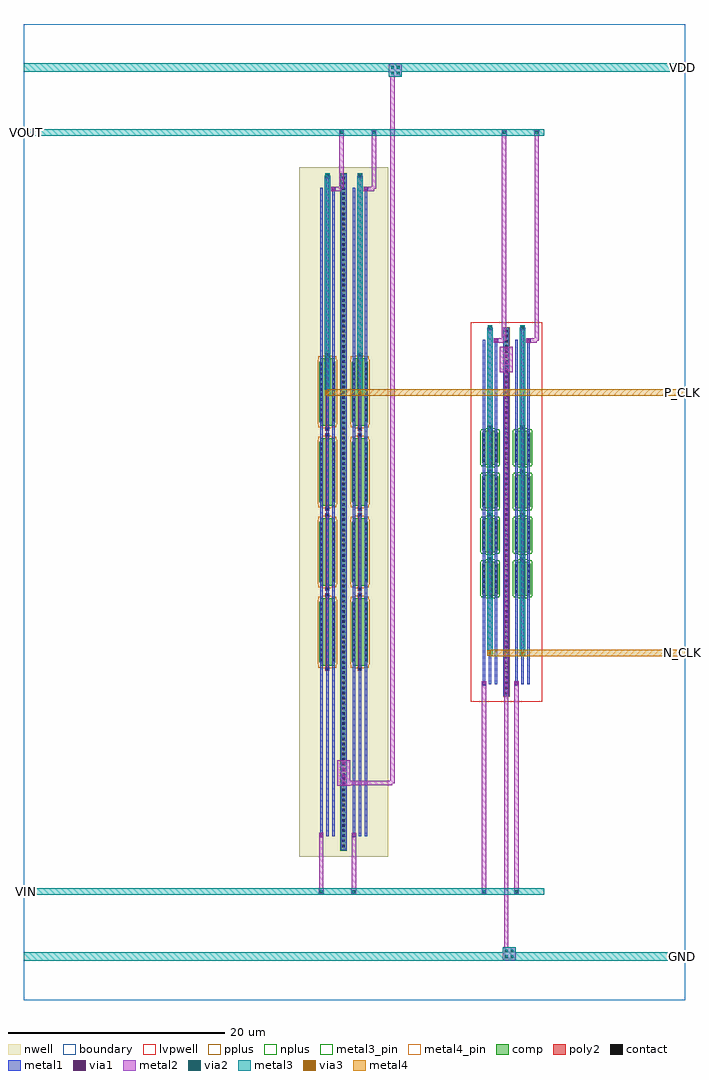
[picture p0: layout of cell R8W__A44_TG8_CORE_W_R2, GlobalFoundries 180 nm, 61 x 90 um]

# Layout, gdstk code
import gdstk
lib = gdstk.Library(unit=1e-6, precision=1e-09)
def R(c, l, rs):  # rectangles x0, y0, x1, y1
    for r in rs: c.add(gdstk.rectangle(r[:2], r[2:], *l))
def A(c, l, x, y, w, h, nx, ny, dx, dy):  # array of equal rectangles
    R(c, l, [(x+i*dx, y+j*dy, x+i*dx+w, y+j*dy+h) for i in range(nx) for j in range(ny)])
boundary = (0, 0)
nwell = (21, 0)
comp = (22, 0)
poly2 = (30, 0)
pplus = (31, 0)
nplus = (32, 0)
contact = (33, 0)
metal1 = (34, 0)
via1 = (35, 0)
metal2 = (36, 0)
via2 = (38, 0)
via3 = (40, 0)
metal3 = (42, 0)
metal3_pin = (42, 10)
metal4 = (46, 0)
metal4_pin = (46, 10)
lvpwell = (204, 0)

r8w__nfet_03v3_sd8hjt = lib.new_cell('R8W__nfet_03v3_SD8HJT')
A(r8w__nfet_03v3_sd8hjt, comp, -0.74, -7.57, 1.48, 2.81, 1, 4, 0, 4.03)
R(r8w__nfet_03v3_sd8hjt, comp, [(-0.675,-7.72,0.675,-7.57), (-0.675,-4.76,0.675,-4.61), (-0.675,-3.69,0.675,-3.54), (-0.675,-0.73,0.675,-0.58), (-0.675,0.34,0.675,0.49), (-0.675,3.3,0.675,3.45), (-0.675,4.37,0.675,4.52), (-0.675,7.33,0.675,7.48)])
A(r8w__nfet_03v3_sd8hjt, poly2, -0.14, -7.94, 0.28, 3.43, 1, 4, 0, 4.03)
A(r8w__nfet_03v3_sd8hjt, poly2, -0.18, -4.51, 0.36, 0.36, 1, 4, 0, 4.03)
A(r8w__nfet_03v3_sd8hjt, nplus, -0.9, -7.73, 1.8, 3.13, 1, 4, 0, 4.03)
R(r8w__nfet_03v3_sd8hjt, nplus, [(-0.37,-7.95,0.37,-7.88), (-0.835,-7.88,0.835,-7.73), (-0.835,-4.6,0.835,-4.45), (-0.37,-4.45,0.37,-4.38), (-0.37,-3.92,0.37,-3.85), (-0.835,-3.85,0.835,-3.7), (-0.835,-0.57,0.835,-0.42), (-0.37,-0.42,0.37,-0.35), (-0.37,0.11,0.37,0.18), (-0.835,0.18,0.835,0.33), (-0.835,3.46,0.835,3.61), (-0.37,3.61,0.37,3.68), (-0.37,4.14,0.37,4.21), (-0.835,4.21,0.835,4.36), (-0.835,7.49,0.835,7.64), (-0.37,7.64,0.37,7.71)])
A(r8w__nfet_03v3_sd8hjt, contact, -0.67, -7.45, 0.22, 0.22, 1, 6, 0, 0.47)
A(r8w__nfet_03v3_sd8hjt, contact, 0.45, -7.45, 0.22, 0.22, 1, 6, 0, 0.47)
A(r8w__nfet_03v3_sd8hjt, contact, -0.11, -4.44, 0.22, 0.22, 1, 4, 0, 4.03)
A(r8w__nfet_03v3_sd8hjt, contact, -0.67, -3.42, 0.22, 0.22, 1, 6, 0, 0.47)
A(r8w__nfet_03v3_sd8hjt, contact, 0.45, -3.42, 0.22, 0.22, 1, 6, 0, 0.47)
A(r8w__nfet_03v3_sd8hjt, contact, -0.67, 0.61, 0.22, 0.22, 1, 6, 0, 0.47)
A(r8w__nfet_03v3_sd8hjt, contact, 0.45, 0.61, 0.22, 0.22, 1, 6, 0, 0.47)
A(r8w__nfet_03v3_sd8hjt, contact, -0.67, 4.64, 0.22, 0.22, 1, 6, 0, 0.47)
A(r8w__nfet_03v3_sd8hjt, contact, 0.45, 4.64, 0.22, 0.22, 1, 6, 0, 0.47)
A(r8w__nfet_03v3_sd8hjt, metal1, -0.675, -7.56, 0.23, 2.79, 1, 4, 0, 4.03)
A(r8w__nfet_03v3_sd8hjt, metal1, 0.445, -7.56, 0.23, 2.79, 1, 4, 0, 4.03)
A(r8w__nfet_03v3_sd8hjt, metal1, -0.17, -4.445, 0.34, 0.23, 1, 4, 0, 4.03)
R(r8w__nfet_03v3_sd8hjt, lvpwell, [(-0.86,-8.06,0.86,8.06)])

r8w__pfet_03v3_c2l3t7 = lib.new_cell('R8W__pfet_03v3_C2L3T7')
R(r8w__pfet_03v3_c2l3t7, nwell, [(-1.17,-15.07,1.17,15.07)])
A(r8w__pfet_03v3_c2l3t7, comp, -0.74, -13.875, 1.48, 5.61, 1, 4, 0, 7.38)
R(r8w__pfet_03v3_c2l3t7, comp, [(-0.675,-14.18,0.675,-13.875), (-0.675,-8.265,0.675,-7.96), (-0.675,-6.8,0.675,-6.495), (-0.675,-0.885,0.675,-0.58), (-0.675,0.58,0.675,0.885), (-0.675,6.495,0.675,6.8), (-0.675,7.96,0.675,8.265), (-0.675,13.875,0.675,14.18)])
A(r8w__pfet_03v3_c2l3t7, poly2, -0.14, -14.28, 0.28, 6.42, 1, 4, 0, 7.38)
R(r8w__pfet_03v3_c2l3t7, poly2, [(-0.18,-14.64,0.18,-14.28), (-0.18,-7.86,0.18,-7.5), (-0.18,-7.26,0.18,-6.9), (-0.18,-0.48,0.18,-0.12), (-0.18,0.12,0.18,0.48), (-0.18,6.9,0.18,7.26), (-0.18,7.5,0.18,7.86), (-0.18,14.28,0.18,14.64)])
A(r8w__pfet_03v3_c2l3t7, pplus, -0.9, -14.035, 1.8, 5.93, 1, 4, 0, 7.38)
R(r8w__pfet_03v3_c2l3t7, pplus, [(-0.37,-14.41,0.37,-14.34), (-0.835,-14.34,0.835,-14.035), (-0.835,-8.105,0.835,-7.8), (-0.37,-7.8,0.37,-7.73), (-0.37,-7.03,0.37,-6.96), (-0.835,-6.96,0.835,-6.655), (-0.835,-0.725,0.835,-0.42), (-0.37,-0.42,0.37,-0.35), (-0.37,0.35,0.37,0.42), (-0.835,0.42,0.835,0.725), (-0.835,6.655,0.835,6.96), (-0.37,6.96,0.37,7.03), (-0.37,7.73,0.37,7.8), (-0.835,7.8,0.835,8.105), (-0.835,14.035,0.835,14.34), (-0.37,14.34,0.37,14.41)])
A(r8w__pfet_03v3_c2l3t7, contact, -0.67, -13.765, 0.22, 0.22, 1, 12, 0, 0.47)
A(r8w__pfet_03v3_c2l3t7, contact, 0.45, -13.765, 0.22, 0.22, 1, 12, 0, 0.47)
A(r8w__pfet_03v3_c2l3t7, contact, -0.67, -6.385, 0.22, 0.22, 1, 12, 0, 0.47)
A(r8w__pfet_03v3_c2l3t7, contact, 0.45, -6.385, 0.22, 0.22, 1, 12, 0, 0.47)
A(r8w__pfet_03v3_c2l3t7, contact, -0.67, 0.995, 0.22, 0.22, 1, 12, 0, 0.47)
A(r8w__pfet_03v3_c2l3t7, contact, 0.45, 0.995, 0.22, 0.22, 1, 12, 0, 0.47)
A(r8w__pfet_03v3_c2l3t7, contact, -0.67, 8.375, 0.22, 0.22, 1, 12, 0, 0.47)
A(r8w__pfet_03v3_c2l3t7, contact, 0.45, 8.375, 0.22, 0.22, 1, 12, 0, 0.47)
R(r8w__pfet_03v3_c2l3t7, contact, [(-0.11,-14.57,0.11,-14.35), (-0.11,-7.79,0.11,-7.57), (-0.11,-7.19,0.11,-6.97), (-0.11,-0.41,0.11,-0.19), (-0.11,0.19,0.11,0.41), (-0.11,6.97,0.11,7.19), (-0.11,7.57,0.11,7.79), (-0.11,14.35,0.11,14.57)])
A(r8w__pfet_03v3_c2l3t7, metal1, -0.675, -13.865, 0.23, 5.59, 1, 4, 0, 7.38)
A(r8w__pfet_03v3_c2l3t7, metal1, 0.445, -13.865, 0.23, 5.59, 1, 4, 0, 7.38)
R(r8w__pfet_03v3_c2l3t7, metal1, [(-0.17,-14.575,0.17,-14.345), (-0.17,-7.795,0.17,-7.565), (-0.17,-7.195,0.17,-6.965), (-0.17,-0.415,0.17,-0.185), (-0.17,0.185,0.17,0.415), (-0.17,6.965,0.17,7.195), (-0.17,7.565,0.17,7.795), (-0.17,14.345,0.17,14.575)])

r8w__a44_tg8_core_w_r2 = lib.new_cell('R8W__A44_TG8_CORE_W_R2')
R(r8w__a44_tg8_core_w_r2, boundary, [(0,0,61,90)])
R(r8w__a44_tg8_core_w_r2, nwell, [(25.4,13.2,33.6,76.8)])
R(r8w__a44_tg8_core_w_r2, comp, [(29.22,13.8,29.78,76.2), (44.22,28,44.78,62)])
R(r8w__a44_tg8_core_w_r2, pplus, [(44.195,27.975,44.805,62.025)])
R(r8w__a44_tg8_core_w_r2, nplus, [(29.195,13.775,29.805,76.225)])
A(r8w__a44_tg8_core_w_r2, contact, 29.39, 14.105, 0.22, 0.22, 1, 132, 0, 0.47)
A(r8w__a44_tg8_core_w_r2, contact, 44.39, 28.205, 0.22, 0.22, 1, 72, 0, 0.47)
R(r8w__a44_tg8_core_w_r2, metal1, [(29.22,13.8,29.78,76.2), (27.24,15,27.64,15.4), (30.24,15,30.64,15.4), (27.885,15.1,28.115,75.8), (28.445,15.1,28.675,74.6), (30.885,15.1,31.115,75.8), (31.445,15.1,31.675,74.6), (27.325,15.4,27.555,74.9), (30.325,15.4,30.555,74.9), (44.22,28,44.78,62), (42.24,29,42.64,29.4), (45.24,29,45.64,29.4), (42.885,29.1,43.115,61.8), (43.445,29.1,43.675,60.6), (45.885,29.1,46.115,61.8), (46.445,29.1,46.675,60.6), (42.325,29.4,42.555,60.9), (45.325,29.4,45.555,60.9), (43.36,60.6,43.76,61), (46.36,60.6,46.76,61), (42.8,61.8,43.2,62.2), (45.8,61.8,46.2,62.2), (28.36,74.6,28.76,75), (31.36,74.6,31.76,75), (27.8,75.8,28.2,76.2), (30.8,75.8,31.2,76.2)])
A(r8w__a44_tg8_core_w_r2, via1, 29.37, 19.87, 0.26, 0.26, 1, 4, 0, 0.62)
A(r8w__a44_tg8_core_w_r2, via1, 44.37, 58.01, 0.26, 0.26, 1, 4, 0, 0.62)
R(r8w__a44_tg8_core_w_r2, via1, [(27.31,15.07,27.57,15.33), (30.31,15.07,30.57,15.33), (42.31,29.07,42.57,29.33), (45.31,29.07,45.57,29.33), (43.43,60.67,43.69,60.93), (46.43,60.67,46.69,60.93), (42.87,61.87,43.13,62.13), (45.87,61.87,46.13,62.13), (28.43,74.67,28.69,74.93), (31.43,74.67,31.69,74.93), (27.87,75.87,28.13,76.13), (30.87,75.87,31.13,76.13)])
R(r8w__a44_tg8_core_w_r2, metal2, [(44.16,3.66,45.36,3.78), (44.16,3.78,44.28,4.22), (44.28,3.78,44.72,4.22), (44.72,3.78,45.36,4.22), (44.16,4.22,44.3,4.86), (44.3,4.22,44.7,60.2), (44.7,4.22,45.36,4.86), (27.22,9.78,27.66,10.22), (30.22,9.78,30.66,10.22), (42.22,9.78,42.66,10.22), (45.22,9.78,45.66,10.22), (27.24,10.22,27.64,15.4), (30.24,10.22,30.64,15.4), (42.24,10.22,42.64,29.4), (45.24,10.22,45.64,29.4), (28.9,19.75,30.1,19.8), (28.9,19.8,29.3,20.2), (29.3,19.8,34,20), (29.3,20,34.2,20.2), (28.9,20.2,30.1,22.11), (33.8,20.2,34.2,85.78), (43.9,57.89,44.3,60.2), (44.7,57.89,45.1,60.2), (43.9,60.2,45.1,60.25), (43.36,60.6,44.3,60.8), (46.36,60.6,47.3,60.8), (43.36,60.8,44.5,61), (46.36,60.8,47.5,61), (44.1,61,44.5,79.78), (47.1,61,47.5,79.78), (42.78,61.78,43.22,62.22), (45.78,61.78,46.22,62.22), (28.36,74.6,29.3,74.8), (31.36,74.6,32.3,74.8), (28.36,74.8,29.5,75), (31.36,74.8,32.5,75), (29.1,75,29.5,79.78), (32.1,75,32.5,79.78), (27.78,75.78,28.22,76.22), (30.78,75.78,31.22,76.22), (29.08,79.78,29.52,80.22), (32.08,79.78,32.52,80.22), (44.08,79.78,44.52,80.22), (47.08,79.78,47.52,80.22), (33.66,85.14,33.8,85.78), (34.2,85.14,34.86,85.78), (33.66,85.78,33.78,86.22), (33.78,85.78,34.22,86.22), (34.22,85.78,34.86,86.22), (33.66,86.22,34.86,86.34)])
R(r8w__a44_tg8_core_w_r2, via2, [(44.37,3.87,44.63,4.13), (44.89,3.87,45.15,4.13), (44.37,4.39,44.63,4.65), (44.89,4.39,45.15,4.65), (27.31,9.87,27.57,10.13), (30.31,9.87,30.57,10.13), (42.31,9.87,42.57,10.13), (45.31,9.87,45.57,10.13), (42.87,61.87,43.13,62.13), (45.87,61.87,46.13,62.13), (27.87,75.87,28.13,76.13), (30.87,75.87,31.13,76.13), (29.17,79.87,29.43,80.13), (32.17,79.87,32.43,80.13), (44.17,79.87,44.43,80.13), (47.17,79.87,47.43,80.13), (33.87,85.35,34.13,85.61), (34.39,85.35,34.65,85.61), (33.87,85.87,34.13,86.13), (34.39,85.87,34.65,86.13)])
R(r8w__a44_tg8_core_w_r2, via3, [(42.87,31.87,43.13,32.13), (45.87,31.87,46.13,32.13), (27.87,55.87,28.13,56.13), (30.87,55.87,31.13,56.13)])
R(r8w__a44_tg8_core_w_r2, metal3, [(0,3.6,61,4.4), (44.16,4.4,45.36,4.86), (0,9.7,48,10.3), (42.75,31.75,43.25,62), (45.75,31.75,46.25,62), (27.75,55.75,28.25,76), (30.75,55.75,31.25,76), (42.78,62,43.22,62.22), (45.78,62,46.22,62.22), (27.78,76,28.22,76.22), (30.78,76,31.22,76.22), (0,79.7,48,80.3), (33.66,85.14,34.86,85.6), (0,85.6,61,86.4)])
R(r8w__a44_tg8_core_w_r2, metal3_pin, [(60.4,3.6,61,4.4), (0,9.7,0.6,10.3), (0,79.7,0.6,80.3), (60.4,85.6,61,86.4)])
R(r8w__a44_tg8_core_w_r2, metal4, [(43,31.7,61,31.75), (42.75,31.75,61,32.25), (43,32.25,61,32.3), (28,55.7,61,55.75), (27.75,55.75,61,56.25), (28,56.25,61,56.3)])
R(r8w__a44_tg8_core_w_r2, metal4_pin, [(60.4,31.7,61,32.3), (60.4,55.7,61,56.3)])
R(r8w__a44_tg8_core_w_r2, lvpwell, [(41.2,27.5,47.8,62.5)])
r8w__a44_tg8_core_w_r2.add(gdstk.Reference(r8w__nfet_03v3_sd8hjt, (43,45)))
r8w__a44_tg8_core_w_r2.add(gdstk.Reference(r8w__nfet_03v3_sd8hjt, (46,45)))
r8w__a44_tg8_core_w_r2.add(gdstk.Reference(r8w__pfet_03v3_c2l3t7, (28,45)))
r8w__a44_tg8_core_w_r2.add(gdstk.Reference(r8w__pfet_03v3_c2l3t7, (31,45)))
r8w__a44_tg8_core_w_r2.add(gdstk.Label('VDD', (60.7,86), layer=42, texttype=10))
r8w__a44_tg8_core_w_r2.add(gdstk.Label('GND', (60.7,4), layer=42, texttype=10))
r8w__a44_tg8_core_w_r2.add(gdstk.Label('VOUT', (0.3,80), layer=42, texttype=10))
r8w__a44_tg8_core_w_r2.add(gdstk.Label('VIN', (0.3,10), layer=42, texttype=10))
r8w__a44_tg8_core_w_r2.add(gdstk.Label('N_CLK', (60.7,32), layer=46, texttype=10))
r8w__a44_tg8_core_w_r2.add(gdstk.Label('P_CLK', (60.7,56), layer=46, texttype=10))

lib.write_gds('R8W__A44_TG8_CORE_W_R2.gds')
